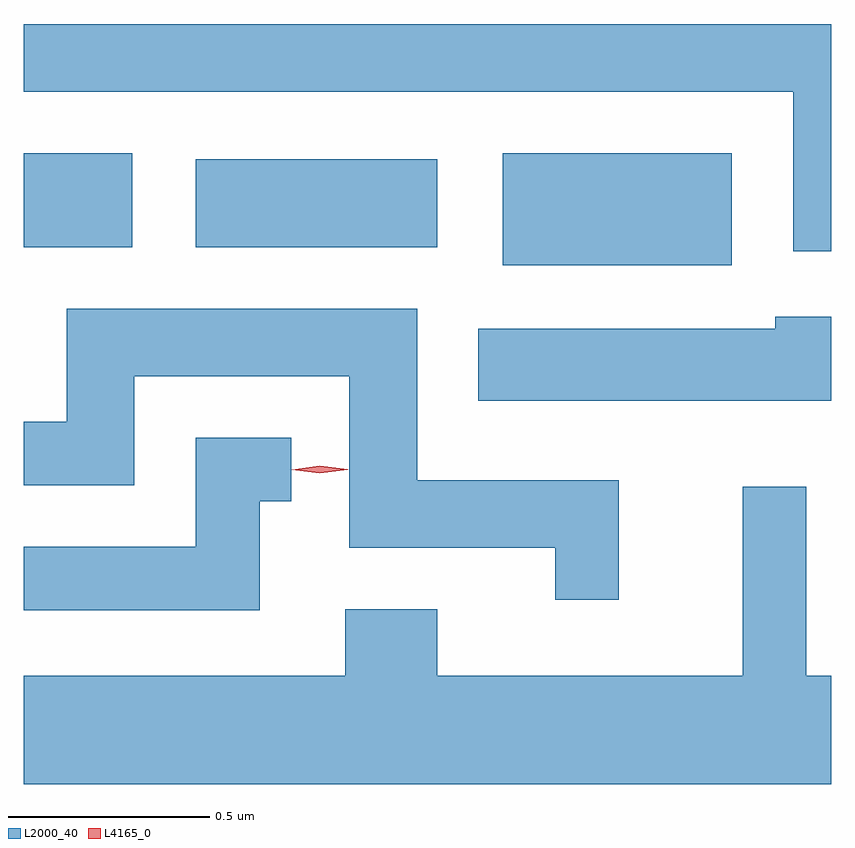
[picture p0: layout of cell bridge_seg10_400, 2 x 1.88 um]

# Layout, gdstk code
import gdstk
lib = gdstk.Library(unit=1e-6, precision=1e-09)
def R(c, l, rs):  # rectangles x0, y0, x1, y1
    for r in rs: c.add(gdstk.rectangle(r[:2], r[2:], *l))
def P(c, l, *ps):  # polygons
    for p in ps: c.add(gdstk.Polygon(p, *l))
L2000_40 = (2000, 40)
L4165_0 = (4165, 0)

bridge_seg10_400 = lib.new_cell('bridge_seg10_400')
R(bridge_seg10_400, L2000_40, [(1068.921,2088.561,1069.489,2088.839), (1067.735,2088.606,1068.004,2088.839), (1068.161,2088.606,1068.759,2088.824)])
P(bridge_seg10_400, L2000_40, [(1069.735,2089.159),(1067.735,2089.159),(1067.735,2088.991),(1069.641,2088.991),(1069.641,2088.596),(1069.735,2088.596)],
  [(1069.209,2088.029),(1068.709,2088.029),(1068.709,2088.454),(1067.841,2088.454),(1067.841,2088.174),(1067.735,2088.174),(1067.735,2088.016),(1068.009,2088.016),(1068.009,2088.286),(1068.541,2088.286),(1068.541,2087.861),(1069.051,2087.861),(1069.051,2087.733),(1069.209,2087.733)],
  [(1069.735,2088.434),(1069.596,2088.434),(1069.596,2088.404),(1068.861,2088.404),(1068.861,2088.226),(1069.735,2088.226)],
  [(1068.319,2087.976),(1068.398,2087.976),(1068.398,2088.134),(1068.161,2088.134),(1068.161,2087.864),(1067.735,2087.864),(1067.735,2087.706),(1068.319,2087.706)],
  [(1069.735,2087.544),(1069.674,2087.544),(1069.674,2088.012),(1069.516,2088.012),(1069.516,2087.544),(1068.759,2087.544),(1068.759,2087.709),(1068.531,2087.709),(1068.531,2087.544),(1067.735,2087.544),(1067.735,2087.276),(1069.735,2087.276)])
P(bridge_seg10_400, L4165_0, [(1068.468,2088.046),(1068.399,2088.054),(1068.399,2088.055),(1068.399,2088.055),(1068.468,2088.065),(1068.538,2088.056),(1068.538,2088.056),(1068.538,2088.055)])

lib.write_gds('bridge_seg10_400.gds')
